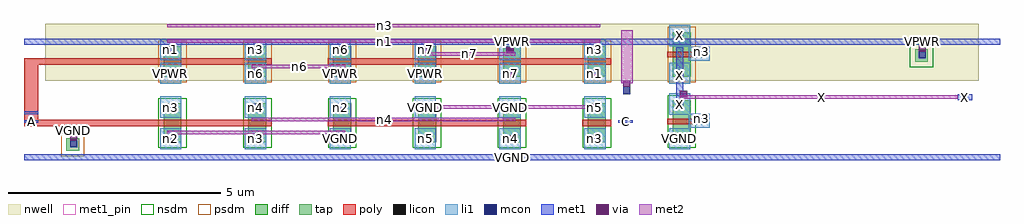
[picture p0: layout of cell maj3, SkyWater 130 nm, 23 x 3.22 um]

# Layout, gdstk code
import gdstk
lib = gdstk.Library(unit=1e-6, precision=1e-09)
def R(c, l, rs):  # rectangles x0, y0, x1, y1
    for r in rs: c.add(gdstk.rectangle(r[:2], r[2:], *l))
def A(c, l, x, y, w, h, nx, ny, dx, dy):  # array of equal rectangles
    R(c, l, [(x+i*dx, y+j*dy, x+i*dx+w, y+j*dy+h) for i in range(nx) for j in range(ny)])
nwell = (64, 20)
diff = (65, 20)
tap = (65, 44)
poly = (66, 20)
licon = (66, 44)
li1 = (67, 20)
mcon = (67, 44)
met1_pin = (68, 16)
met1 = (68, 20)
via = (68, 44)
met2 = (69, 20)
nsdm = (93, 44)
psdm = (94, 20)

maj3 = lib.new_cell('maj3')
R(maj3, nwell, [(0.5,1.8,22.5,3.15)])
A(maj3, diff, 3.29, 0.35, 0.42, 0.92, 6, 1, 2, 0)
A(maj3, diff, 3.29, 1.9, 0.42, 0.72, 6, 1, 2, 0)
R(maj3, diff, [(15.29,0.35,15.71,1.34), (15.29,1.9,15.71,2.95)])
R(maj3, tap, [(1,0.15,1.3,0.45), (21,2.25,21.3,2.55)])
A(maj3, poly, 3.16, 0.735, 0.68, 0.15, 6, 1, 2, 0)
A(maj3, poly, 3.16, 2.185, 0.68, 0.15, 4, 1, 2, 0)
R(maj3, poly, [(0,0.735,3.84,0.885), (0,0.735,5.84,0.885), (7.16,0.735,9.84,0.885), (7.16,0.735,11.84,0.885), (13.16,0.735,13.84,0.885), (15.16,0.78,15.84,0.91), (15.71,0.78,16.05,0.91), (0,0.81,0.34,2.335), (0,0.81,0.34,2.335), (0,2.185,3.84,2.335), (0,2.185,5.84,2.335), (7.16,2.185,13.84,2.335), (9.16,2.185,9.84,2.335), (11.16,2.185,11.84,2.335), (11.16,2.185,11.84,2.335), (13.16,2.185,13.84,2.335), (15.16,2.36,15.84,2.49), (15.71,2.36,16.05,2.49)])
A(maj3, licon, 3.37, 0.35, 0.17, 0.17, 7, 2, 2, 1.55)
A(maj3, licon, 3.37, 1.1, 0.17, 0.17, 6, 2, 2, 1.35)
R(maj3, licon, [(15.83,0.78,16,0.95), (15.37,1.17,15.54,1.34), (15.83,2.36,16,2.53), (15.37,2.78,15.54,2.95)])
A(maj3, li1, 3.205, 0.185, 0.5, 0.5, 7, 2, 2, 1.55)
A(maj3, li1, 3.205, 0.935, 0.5, 0.5, 6, 2, 2, 1.35)
R(maj3, li1, [(15.665,0.7,16.165,1.03), (15.205,1.005,15.705,1.505), (15.665,2.28,16.165,2.61), (15.205,2.615,15.705,3.115)])
R(maj3, mcon, [(1.085,0.235,1.255,0.405), (15.89,0.84,16.06,0.89), (14.12,1.49,14.29,1.66), (21.085,2.335,21.255,2.505), (15.89,2.42,16.06,2.47)])
R(maj3, met1_pin, [(0,-0.07,23,0.07), (0,0.81,0.34,0.88), (14,0.81,14.34,0.88), (0,1.02,0.34,1.09), (22,1.35,22.35,1.49), (0,2.65,23,2.79)])
A(maj3, met1, 9.37, 0.35, 0.17, 0.15, 3, 1, 2, 0)
A(maj3, met1, 3.37, 1.1, 0.17, 0.15, 3, 1, 2, 0)
A(maj3, met1, 3.37, 2.45, 0.17, 0.15, 6, 1, 2, 0)
R(maj3, met1, [(0,-0.07,23,0.07), (3.37,0.35,3.54,0.5), (5.37,0.35,5.54,0.5), (1.03,0.555,1.31,0.695), (0,0.81,0.34,0.88), (14,0.81,14.34,0.88), (15.83,0.89,16.12,0.96), (0,1.02,0.34,1.09), (13.37,1.1,13.54,1.25), (15.37,1.255,15.54,2.6), (22,1.35,22.35,1.49), (15.455,1.42,15.625,1.57), (5.37,1.9,5.54,2.05), (11.37,1.9,11.54,2.05), (13.37,1.9,13.54,2.05), (15.83,2.47,16.12,2.54), (0,2.65,23,2.79), (21.03,2.655,21.31,2.795)])
A(maj3, via, 9.37, 0.35, 0.17, 0.15, 3, 1, 2, 0)
A(maj3, via, 3.37, 1.1, 0.17, 0.15, 3, 1, 2, 0)
A(maj3, via, 3.37, 2.45, 0.17, 0.15, 6, 1, 2, 0)
R(maj3, via, [(3.37,0.35,3.54,0.5), (5.37,0.35,5.54,0.5), (1.085,0.405,1.255,0.555), (13.37,1.1,13.54,1.25), (15.455,1.42,15.625,1.57), (14.12,1.66,14.29,1.81), (5.37,1.9,5.54,2.05), (11.37,1.9,11.54,2.05), (13.37,1.9,13.54,2.05), (21.085,2.505,21.255,2.655)])
A(maj3, met2, 9.37, 0.35, 0.17, 0.05, 3, 1, 2, 0)
A(maj3, met2, 3.37, 2.45, 0.17, 0.05, 6, 1, 2, 0)
R(maj3, met2, [(5.37,0.35,5.54,0.4), (3.37,0.5,3.54,0.55), (3.37,0.55,7.575,0.63), (5.37,0.85,11.575,0.93), (3.37,1.1,3.54,1.15), (7.37,1.1,7.54,1.15), (9.37,1.15,13.575,1.23), (15.455,1.38,15.625,1.46), (15.54,1.38,22,1.46), (14.07,1.75,14.34,3), (5.37,1.9,5.54,1.95), (11.37,1.9,11.54,1.95), (13.37,1.9,13.54,1.95), (5.37,2.1,7.575,2.18), (9.37,2.4,11.575,2.48), (3.37,2.7,13.575,2.78), (3.37,3.06,13.575,3.14)])
A(maj3, nsdm, 3.165, 0.225, 0.67, 1.17, 6, 1, 2, 0)
R(maj3, nsdm, [(15.165,0.225,15.835,1.465), (20.875,2.125,21.425,2.675)])
A(maj3, psdm, 3.165, 1.775, 0.67, 0.97, 6, 1, 2, 0)
R(maj3, psdm, [(0.875,0.025,1.425,0.575), (15.165,1.775,15.835,3.075)])
maj3.add(gdstk.Label('VGND', (11.5,0), layer=68, texttype=5))
maj3.add(gdstk.Label('VGND', (11.5,0), layer=68, texttype=5))
maj3.add(gdstk.Label('VPWR', (11.5,2.72), layer=68, texttype=5))
maj3.add(gdstk.Label('VPWR', (11.5,2.72), layer=68, texttype=5))
maj3.add(gdstk.Label('VGND', (1.17,0.625), layer=68, texttype=5))
maj3.add(gdstk.Label('VPWR', (21.17,2.725), layer=68, texttype=5))
maj3.add(gdstk.Label('A', (0.17,0.845), layer=68, texttype=5))
maj3.add(gdstk.Label('A', (0.17,0.845), layer=68, texttype=5))
maj3.add(gdstk.Label('B', (0.17,1.055), layer=68, texttype=5))
maj3.add(gdstk.Label('B', (0.17,1.055), layer=68, texttype=5))
maj3.add(gdstk.Label('C', (14.17,0.845), layer=68, texttype=5))
maj3.add(gdstk.Label('C', (14.17,0.845), layer=68, texttype=5))
maj3.add(gdstk.Label('n3', (15.975,0.925), layer=68, texttype=5))
maj3.add(gdstk.Label('n3', (15.975,2.505), layer=68, texttype=5))
maj3.add(gdstk.Label('X', (22.175,1.42), layer=68, texttype=5))
maj3.add(gdstk.Label('X', (22.175,1.42), layer=68, texttype=5))
maj3.add(gdstk.Label('X', (15.455,1.93), layer=68, texttype=5))
maj3.add(gdstk.Label('VGND', (11.5,0), layer=68, texttype=16))
maj3.add(gdstk.Label('VPWR', (11.5,2.72), layer=68, texttype=16))
maj3.add(gdstk.Label('A', (0.17,0.845), layer=68, texttype=16))
maj3.add(gdstk.Label('B', (0.17,1.055), layer=68, texttype=16))
maj3.add(gdstk.Label('C', (14.17,0.845), layer=68, texttype=16))
maj3.add(gdstk.Label('X', (22.175,1.42), layer=68, texttype=16))
maj3.add(gdstk.Label('n2', (3.455,0.435), layer=67, texttype=5))
maj3.add(gdstk.Label('n3', (3.455,1.185), layer=67, texttype=5))
maj3.add(gdstk.Label('n3', (5.455,0.435), layer=67, texttype=5))
maj3.add(gdstk.Label('n4', (5.455,1.185), layer=67, texttype=5))
maj3.add(gdstk.Label('VGND', (7.455,0.435), layer=67, texttype=5))
maj3.add(gdstk.Label('n2', (7.455,1.185), layer=67, texttype=5))
maj3.add(gdstk.Label('n5', (9.455,0.435), layer=67, texttype=5))
maj3.add(gdstk.Label('VGND', (9.455,1.185), layer=67, texttype=5))
maj3.add(gdstk.Label('n4', (11.455,0.435), layer=67, texttype=5))
maj3.add(gdstk.Label('VGND', (11.455,1.185), layer=67, texttype=5))
maj3.add(gdstk.Label('n3', (13.455,0.435), layer=67, texttype=5))
maj3.add(gdstk.Label('n5', (13.455,1.185), layer=67, texttype=5))
maj3.add(gdstk.Label('VGND', (15.455,0.435), layer=67, texttype=5))
maj3.add(gdstk.Label('X', (15.455,1.255), layer=67, texttype=5))
maj3.add(gdstk.Label('VPWR', (3.455,1.985), layer=67, texttype=5))
maj3.add(gdstk.Label('n1', (3.455,2.535), layer=67, texttype=5))
maj3.add(gdstk.Label('n6', (5.455,1.985), layer=67, texttype=5))
maj3.add(gdstk.Label('n3', (5.455,2.535), layer=67, texttype=5))
maj3.add(gdstk.Label('VPWR', (7.455,1.985), layer=67, texttype=5))
maj3.add(gdstk.Label('n6', (7.455,2.535), layer=67, texttype=5))
maj3.add(gdstk.Label('VPWR', (9.455,1.985), layer=67, texttype=5))
maj3.add(gdstk.Label('n7', (9.455,2.535), layer=67, texttype=5))
maj3.add(gdstk.Label('n7', (11.455,1.985), layer=67, texttype=5))
maj3.add(gdstk.Label('n3', (11.455,2.535), layer=67, texttype=5))
maj3.add(gdstk.Label('n1', (13.455,1.985), layer=67, texttype=5))
maj3.add(gdstk.Label('n3', (13.455,2.535), layer=67, texttype=5))
maj3.add(gdstk.Label('VPWR', (15.455,1.985), layer=67, texttype=5))
maj3.add(gdstk.Label('X', (15.455,2.865), layer=67, texttype=5))
maj3.add(gdstk.Label('X', (18.8,1.42), layer=69, texttype=5))
maj3.add(gdstk.Label('n2', (5.5,0.59), layer=69, texttype=5))
maj3.add(gdstk.Label('n4', (8.5,0.89), layer=69, texttype=5))
maj3.add(gdstk.Label('n5', (11.5,1.19), layer=69, texttype=5))
maj3.add(gdstk.Label('n6', (6.5,2.14), layer=69, texttype=5))
maj3.add(gdstk.Label('n7', (10.5,2.44), layer=69, texttype=5))
maj3.add(gdstk.Label('n1', (8.5,2.74), layer=69, texttype=5))
maj3.add(gdstk.Label('n3', (8.5,3.1), layer=69, texttype=5))

lib.write_gds('maj3.gds')
